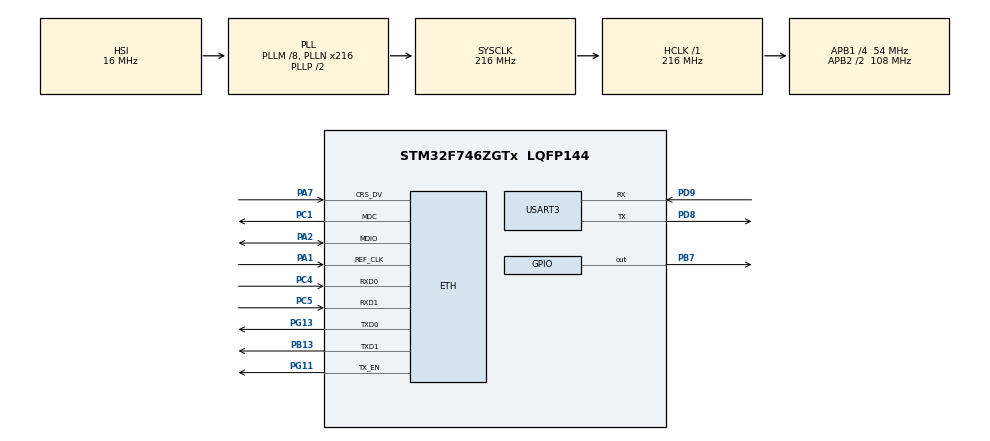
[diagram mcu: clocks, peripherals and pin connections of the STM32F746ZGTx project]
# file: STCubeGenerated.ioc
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ETH.MediaInterface=HAL_ETH_RMII_MODE
Mcu.Family=STM32F7
Mcu.Name=STM32F746ZGTx
Mcu.Package=LQFP144
NVIC.ETH_IRQn=true\:0\:0\:false\:false\:false\:true\:true\:true
NVIC.PriorityGroup=NVIC_PRIORITYGROUP_4
NVIC.TIM6_DAC_IRQn=true\:15\:0\:false\:false\:true\:false\:true\:true
NVIC.TimeBase=TIM6_DAC_IRQn
NVIC.TimeBaseIP=TIM6
PA1.Mode=RMII
PA1.Signal=ETH_REF_CLK
PA2.Mode=RMII
PA2.Signal=ETH_MDIO
PA7.Mode=RMII
PA7.Signal=ETH_CRS_DV
PB13.Mode=RMII
PB13.Signal=ETH_TXD1
PB7.Signal=GPIO_Output
PC1.Mode=RMII
PC1.Signal=ETH_MDC
PC4.Mode=RMII
PC4.Signal=ETH_RXD0
PC5.Mode=RMII
PC5.Signal=ETH_RXD1
PD8.Mode=Asynchronous
PD8.Signal=USART3_TX
PD9.Mode=Asynchronous
PD9.Signal=USART3_RX
PG11.Mode=RMII
PG11.Signal=ETH_TX_EN
PG13.Mode=RMII
PG13.Signal=ETH_TXD0
ProjectManager.HeapSize=0x200
ProjectManager.StackSize=0x400
ProjectManager.TargetToolchain=MDK-ARM V5
RCC.AHBFreq_Value=216000000
RCC.APB1CLKDivider=RCC_HCLK_DIV4
RCC.APB1Freq_Value=54000000
RCC.APB1TimFreq_Value=108000000
RCC.APB2CLKDivider=RCC_HCLK_DIV2
RCC.APB2Freq_Value=108000000
RCC.APB2TimFreq_Value=216000000
RCC.CortexFreq_Value=216000000
RCC.HCLKFreq_Value=216000000
RCC.HSE_VALUE=25000000
RCC.HSI_VALUE=16000000
RCC.LSE_VALUE=32768
RCC.PLLM=8
RCC.PLLN=216
RCC.PLLQ=9
RCC.SYSCLKFreq_VALUE=216000000
RCC.SYSCLKSource=RCC_SYSCLKSOURCE_PLLCLK
RCC.USBFreq_Value=48000000
RCC.VCOOutputFreq_Value=432000000
USART3.VirtualMode-Asynchronous=VM_ASYNC
VP_RNG_VS_RNG.Mode=RNG_Activate
VP_SYS_VS_tim6.Mode=TIM6
board=custom

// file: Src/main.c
/* USER CODE BEGIN Header */
/**
  ******************************************************************************
  * @file           : main.c
  * @brief          : Main program body
  ******************************************************************************
  * @attention
  *
  * Copyright (c) 2023 STMicroelectronics.
  * All rights reserved.
  *
  * This software is licensed under terms that can be found in the LICENSE file
  * in the root directory of this software component.
  * If no LICENSE file comes with this software, it is provided AS-IS.
  *
  ******************************************************************************
  */
/* USER CODE END Header */
#include "main.h"
#include "string.h"

/* USER CODE BEGIN Includes */
#include "cmsis_os.h"

/* USER CODE END Includes */

#if defined ( __ICCARM__ ) /*!< IAR Compiler */
#pragma location=0x2004c000
ETH_DMADescTypeDef  DMARxDscrTab[ETH_RX_DESC_CNT]; /* Ethernet Rx DMA Descriptors */
#pragma location=0x2004c0a0
ETH_DMADescTypeDef  DMATxDscrTab[ETH_TX_DESC_CNT]; /* Ethernet Tx DMA Descriptors */

#elif defined ( __CC_ARM )  /* MDK ARM Compiler */

__attribute__((at(0x2004c000))) ETH_DMADescTypeDef  DMARxDscrTab[ETH_RX_DESC_CNT]; /* Ethernet Rx DMA Descriptors */
__attribute__((at(0x2004c0a0))) ETH_DMADescTypeDef  DMATxDscrTab[ETH_TX_DESC_CNT]; /* Ethernet Tx DMA Descriptors */

#elif defined ( __GNUC__ ) /* GNU Compiler */
ETH_DMADescTypeDef DMARxDscrTab[ETH_RX_DESC_CNT] __attribute__((section(".RxDecripSection"))); /* Ethernet Rx DMA Descriptors */
ETH_DMADescTypeDef DMATxDscrTab[ETH_TX_DESC_CNT] __attribute__((section(".TxDecripSection")));   /* Ethernet Tx DMA Descriptors */

#endif

ETH_TxPacketConfig TxConfig;

ETH_HandleTypeDef heth;

RNG_HandleTypeDef hrng;

UART_HandleTypeDef huart3;

void SystemClock_Config(void);
static void MX_GPIO_Init(void);
static void MX_USART3_UART_Init(void);
static void MX_ETH_Init(void);
static void MX_RNG_Init(void);

/* USER CODE BEGIN 0 */

// adapted from
//   https://www.keil.com/pack/doc/STM32Cube/html/cubemx_using.html
//   https://developer.arm.com/documentation/ka003821/latest
uint32_t HAL_GetTick (void) {
  static uint32_t ticks = 0U;
  uint32_t i;
  if (osKernelRunning()) {
    extern uint32_t rt_time_get(void);
    return rt_time_get();
  }
  /* If Kernel is not running wait approximately 1 ms then increment and return auxiliary tick counter value */
  for (i = (SystemCoreClock >> 14U); i > 0U; i--) { __NOP(); __NOP(); __NOP(); __NOP(); __NOP(); __NOP(); __NOP(); __NOP(); __NOP(); __NOP(); __NOP(); __NOP(); }
  return ++ticks;
}

void mx_init(void) {
  SystemClock_Config();
  MX_GPIO_Init();
  MX_USART3_UART_Init();
  MX_RNG_Init();
  MX_ETH_Init();
}

/* USER CODE END 0 */

void SystemClock_Config(void)
{
  RCC_OscInitTypeDef RCC_OscInitStruct = {0};
  RCC_ClkInitTypeDef RCC_ClkInitStruct = {0};

  /** Configure the main internal regulator output voltage
  */
  __HAL_RCC_PWR_CLK_ENABLE();
  __HAL_PWR_VOLTAGESCALING_CONFIG(PWR_REGULATOR_VOLTAGE_SCALE1);

  /** Initializes the RCC Oscillators according to the specified parameters
  * in the RCC_OscInitTypeDef structure.
  */
  RCC_OscInitStruct.OscillatorType = RCC_OSCILLATORTYPE_HSI;
  RCC_OscInitStruct.HSIState = RCC_HSI_ON;
  RCC_OscInitStruct.HSICalibrationValue = RCC_HSICALIBRATION_DEFAULT;
  RCC_OscInitStruct.PLL.PLLState = RCC_PLL_ON;
  RCC_OscInitStruct.PLL.PLLSource = RCC_PLLSOURCE_HSI;
  RCC_OscInitStruct.PLL.PLLM = 8;
  RCC_OscInitStruct.PLL.PLLN = 216;
  RCC_OscInitStruct.PLL.PLLP = RCC_PLLP_DIV2;
  RCC_OscInitStruct.PLL.PLLQ = 9;
  if (HAL_RCC_OscConfig(&RCC_OscInitStruct) != HAL_OK)
  {
    Error_Handler();
  }

  /** Activate the Over-Drive mode
  */
  if (HAL_PWREx_EnableOverDrive() != HAL_OK)
  {
    Error_Handler();
  }

  /** Initializes the CPU, AHB and APB buses clocks
  */
  RCC_ClkInitStruct.ClockType = RCC_CLOCKTYPE_HCLK|RCC_CLOCKTYPE_SYSCLK
                              |RCC_CLOCKTYPE_PCLK1|RCC_CLOCKTYPE_PCLK2;
  RCC_ClkInitStruct.SYSCLKSource = RCC_SYSCLKSOURCE_PLLCLK;
  RCC_ClkInitStruct.AHBCLKDivider = RCC_SYSCLK_DIV1;
  RCC_ClkInitStruct.APB1CLKDivider = RCC_HCLK_DIV4;
  RCC_ClkInitStruct.APB2CLKDivider = RCC_HCLK_DIV2;

  if (HAL_RCC_ClockConfig(&RCC_ClkInitStruct, FLASH_LATENCY_7) != HAL_OK)
  {
    Error_Handler();
  }
}

static void MX_ETH_Init(void)
{

   static uint8_t MACAddr[6];

  heth.Instance = ETH;
  MACAddr[0] = 0x00;
  MACAddr[1] = 0x80;
  MACAddr[2] = 0xE1;
  MACAddr[3] = 0x00;
  MACAddr[4] = 0x00;
  MACAddr[5] = 0x00;
  heth.Init.MACAddr = &MACAddr[0];
  heth.Init.MediaInterface = HAL_ETH_RMII_MODE;
  heth.Init.TxDesc = DMATxDscrTab;
  heth.Init.RxDesc = DMARxDscrTab;
  heth.Init.RxBuffLen = 1524;

  if (HAL_ETH_Init(&heth) != HAL_OK)
  {
    Error_Handler();
  }

  memset(&TxConfig, 0 , sizeof(ETH_TxPacketConfig));
  TxConfig.Attributes = ETH_TX_PACKETS_FEATURES_CSUM | ETH_TX_PACKETS_FEATURES_CRCPAD;
  TxConfig.ChecksumCtrl = ETH_CHECKSUM_IPHDR_PAYLOAD_INSERT_PHDR_CALC;
  TxConfig.CRCPadCtrl = ETH_CRC_PAD_INSERT;

}

static void MX_RNG_Init(void)
{

  hrng.Instance = RNG;
  if (HAL_RNG_Init(&hrng) != HAL_OK)
  {
    Error_Handler();
  }

}

static void MX_USART3_UART_Init(void)
{

  huart3.Instance = USART3;
  huart3.Init.BaudRate = 115200;
  huart3.Init.WordLength = UART_WORDLENGTH_8B;
  huart3.Init.StopBits = UART_STOPBITS_1;
  huart3.Init.Parity = UART_PARITY_NONE;
  huart3.Init.Mode = UART_MODE_TX_RX;
  huart3.Init.HwFlowCtl = UART_HWCONTROL_NONE;
  huart3.Init.OverSampling = UART_OVERSAMPLING_16;
  huart3.Init.OneBitSampling = UART_ONE_BIT_SAMPLE_DISABLE;
  huart3.AdvancedInit.AdvFeatureInit = UART_ADVFEATURE_NO_INIT;
  if (HAL_UART_Init(&huart3) != HAL_OK)
  {
    Error_Handler();
  }

}

static void MX_GPIO_Init(void)
{
  GPIO_InitTypeDef GPIO_InitStruct = {0};

  /* GPIO Ports Clock Enable */
  __HAL_RCC_GPIOC_CLK_ENABLE();
  __HAL_RCC_GPIOA_CLK_ENABLE();
  __HAL_RCC_GPIOB_CLK_ENABLE();
  __HAL_RCC_GPIOD_CLK_ENABLE();
  __HAL_RCC_GPIOG_CLK_ENABLE();

  /*Configure GPIO pin Output Level */
  HAL_GPIO_WritePin(GPIOB, GPIO_PIN_7, GPIO_PIN_RESET);

  /*Configure GPIO pin : PB7 */
  GPIO_InitStruct.Pin = GPIO_PIN_7;
  GPIO_InitStruct.Mode = GPIO_MODE_OUTPUT_PP;
  GPIO_InitStruct.Pull = GPIO_NOPULL;
  GPIO_InitStruct.Speed = GPIO_SPEED_FREQ_LOW;
  HAL_GPIO_Init(GPIOB, &GPIO_InitStruct);

}

void Error_Handler(void)
{
  __disable_irq();
  while (1)
  {
  }
}
